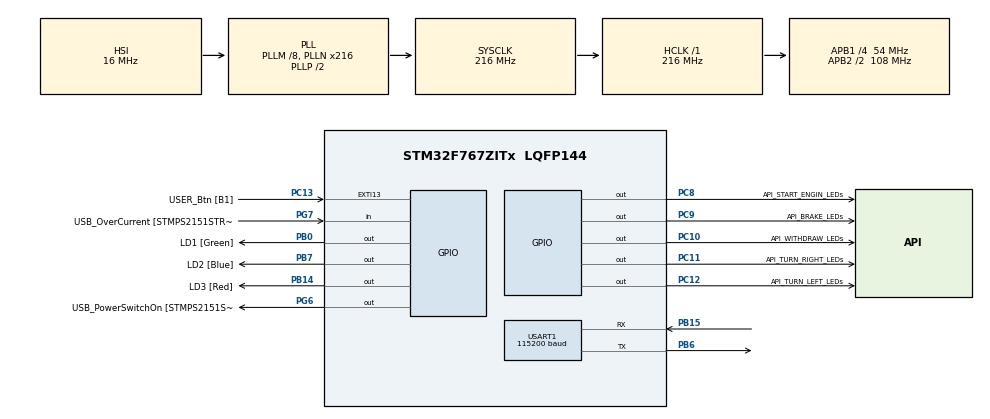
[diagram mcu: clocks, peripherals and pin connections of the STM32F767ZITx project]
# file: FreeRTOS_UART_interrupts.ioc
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FREERTOS.Tasks01=defaultTask,24,128,StartDefaultTask,Default,NULL,Dynamic,NULL,NULL;API_dispatcher,24,128,StartAPI_dispatcher,Default,NULL,Dynamic,NULL,NULL;API_START_ENGIN,24,128,StartAPI_START_ENGIN,Default,NULL,Dynamic,NULL,NULL;API_BRAKE,24,128,StartAPI_BRAKE,Default,NULL,Dynamic,NULL,NULL;API_WITHDRAW,24,128,StartAPI_WITHDRAW,Default,NULL,Dynamic,NULL,NULL;API_TURN_LEFT,24,128,StartAPI_TURN_LEFT,Default,NULL,Dynamic,NULL,NULL;API_TURN_RIGHT,24,128,StartAPI_TURN_RIGHT,Default,NULL,Dynamic,NULL,NULL
FREERTOS.configUSE_NEWLIB_REENTRANT=1
Mcu.Family=STM32F7
Mcu.Name=STM32F767ZITx
Mcu.Package=LQFP144
NVIC.PriorityGroup=NVIC_PRIORITYGROUP_4
NVIC.TIM6_DAC_IRQn=true\:15\:0\:false\:false\:true\:false\:false\:true\:true
NVIC.TimeBase=TIM6_DAC_IRQn
NVIC.TimeBaseIP=TIM6
NVIC.USART1_IRQn=true\:5\:0\:false\:false\:true\:true\:true\:true\:true
PA1.GPIO_Label=RMII_REF_CLK [LAN8742A-CZ-TR_REFCLK0]
PA1.Signal=ETH_REF_CLK
PA10.GPIO_Label=USB_ID
PA10.Signal=USB_OTG_FS_ID
PA11.GPIO_Label=USB_DM
PA11.Signal=USB_OTG_FS_DM
PA12.GPIO_Label=USB_DP
PA12.Signal=USB_OTG_FS_DP
PA13.GPIO_Label=TMS
PA13.Signal=SYS_JTMS-SWDIO
PA14.GPIO_Label=TCK
PA14.Signal=SYS_JTCK-SWCLK
PA2.GPIO_Label=RMII_MDIO [LAN8742A-CZ-TR_MDIO]
PA2.Signal=ETH_MDIO
PA7.GPIO_Label=RMII_CRS_DV [LAN8742A-CZ-TR_CRS_DV]
PA7.Signal=ETH_CRS_DV
PA8.GPIO_Label=USB_SOF [TP1]
PA8.Signal=USB_OTG_FS_SOF
PA9.GPIO_Label=USB_VBUS
PA9.Signal=USB_OTG_FS_VBUS
PB0.GPIO_Label=LD1 [Green]
PB0.Signal=GPIO_Output
PB13.GPIO_Label=RMII_TXD1 [LAN8742A-CZ-TR_TXD1]
PB13.Signal=ETH_TXD1
PB14.GPIO_Label=LD3 [Red]
PB14.Signal=GPIO_Output
PB15.Mode=Asynchronous
PB15.Signal=USART1_RX
PB3.GPIO_Label=SW0
PB3.Signal=SYS_JTDO-SWO
PB6.Mode=Asynchronous
PB6.Signal=USART1_TX
PB7.GPIO_Label=LD2 [Blue]
PB7.Signal=GPIO_Output
PC1.GPIO_Label=RMII_MDC [LAN8742A-CZ-TR_MDC]
PC1.Signal=ETH_MDC
PC10.GPIO_Label=API_WITHDRAW_LEDs
PC10.Signal=GPIO_Output
PC11.GPIO_Label=API_TURN_RIGHT_LEDs
PC11.Signal=GPIO_Output
PC12.GPIO_Label=API_TURN_LEFT_LEDs
PC12.Signal=GPIO_Output
PC13.GPIO_Label=USER_Btn [B1]
PC13.Signal=GPXTI13
PC14/OSC32_IN.Signal=RCC_OSC32_IN
PC15/OSC32_OUT.Signal=RCC_OSC32_OUT
PC4.GPIO_Label=RMII_RXD0 [LAN8742A-CZ-TR_RXD0]
PC4.Signal=ETH_RXD0
PC5.GPIO_Label=RMII_RXD1 [LAN8742A-CZ-TR_RXD1]
PC5.Signal=ETH_RXD1
PC8.GPIO_Label=API_START_ENGIN_LEDs
PC8.Signal=GPIO_Output
PC9.GPIO_Label=API_BRAKE_LEDs
PC9.Signal=GPIO_Output
PD8.GPIO_Label=STLK_RX [STM32F103CBT6_PA3]
PD8.Signal=USART3_TX
PD9.GPIO_Label=STLK_TX [STM32F103CBT6_PA2]
PD9.Signal=USART3_RX
PG11.GPIO_Label=RMII_TX_EN [LAN8742A-CZ-TR_TXEN]
PG11.Signal=ETH_TX_EN
PG13.GPIO_Label=RMII_TXD0 [LAN8742A-CZ-TR_TXD0]
PG13.Signal=ETH_TXD0
PG6.GPIO_Label=USB_PowerSwitchOn [STMPS2151STR_EN]
PG6.Signal=GPIO_Output
PG7.GPIO_Label=USB_OverCurrent [STMPS2151STR_FAULT]
PG7.Signal=GPIO_Input
PH0/OSC_IN.GPIO_Label=MCO [STM32F103CBT6_PA8]
PH0/OSC_IN.Mode=HSE-External-Oscillator
PH0/OSC_IN.Signal=RCC_OSC_IN
PH1/OSC_OUT.Mode=HSE-External-Oscillator
PH1/OSC_OUT.Signal=RCC_OSC_OUT
ProjectManager.HeapSize=0x200
ProjectManager.StackSize=0x400
ProjectManager.TargetToolchain=STM32CubeIDE
RCC.48MHZClocksFreq_Value=24000000
RCC.AHBFreq_Value=216000000
RCC.APB1CLKDivider=RCC_HCLK_DIV4
RCC.APB1Freq_Value=54000000
RCC.APB1TimFreq_Value=108000000
RCC.APB2CLKDivider=RCC_HCLK_DIV2
RCC.APB2Freq_Value=108000000
RCC.APB2TimFreq_Value=216000000
RCC.CortexFreq_Value=216000000
RCC.HCLKFreq_Value=216000000
RCC.HSE_VALUE=16000000
RCC.HSI_VALUE=16000000
RCC.LSE_VALUE=32768
RCC.PLLM=8
RCC.PLLMUL=RCC_PLL_MUL9
RCC.PLLN=216
RCC.PRESCALERUSB=RCC_USBCLKSOURCE_PLL_DIV1_5
RCC.SYSCLKFreq_VALUE=216000000
RCC.SYSCLKSource=RCC_SYSCLKSOURCE_PLLCLK
RCC.SYSCLKSourceVirtual=RCC_SYSCLKSOURCE_PLLCLK
RCC.USBFreq_Value=216000000
RCC.VCOOutputFreq_Value=432000000
USART1.BaudRate=115200
USART1.VirtualMode-Asynchronous=VM_ASYNC
VP_FREERTOS_VS_CMSIS_V2.Mode=CMSIS_V2
VP_SYS_VS_tim6.Mode=TIM6
board=NUCLEO-F767ZI

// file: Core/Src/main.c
/* USER CODE BEGIN Header */
/**
  ******************************************************************************
  * @file           : main.c
  * @brief          : Main program body
  ******************************************************************************
  * @attention
  *
  * Copyright (c) 2023 STMicroelectronics.
  * All rights reserved.
  *
  * This software is licensed under terms that can be found in the LICENSE file
  * in the root directory of this software component.
  * If no LICENSE file comes with this software, it is provided AS-IS.
  *
  ******************************************************************************
  */
/* USER CODE END Header */
#include "main.h"
#include "cmsis_os.h"
#include "usart.h"
#include "gpio.h"

void SystemClock_Config(void);
void MX_FREERTOS_Init(void);

/* USER CODE BEGIN 0 */
uint8_t* tx_buffer[8] = {0, 0, 0, 0, 0, 0, 0, 0};
//uint8_t* tx_buffer_ptr = &tx_buffer;
uint16_t tx_buffer_size = 8;

uint8_t rx_buffer[8] = {0, 0, 0, 0, 0, 0, 0, 0};
uint16_t rx_buffer_size = 8;

BaseType_t checkIfYieldRequired;

extern osThreadId_t API_dispatcherHandle;

/* USER CODE END 0 */

int main(void)
{

  /* MCU Configuration--------------------------------------------------------*/

  /* Reset of all peripherals, Initializes the Flash interface and the Systick. */
  HAL_Init();

  /* Configure the system clock */
  SystemClock_Config();

  /* Initialize all configured peripherals */
  MX_GPIO_Init();
  MX_USART1_UART_Init();
  /* USER CODE BEGIN 2 */
  HAL_UART_Receive_IT( &huart1, rx_buffer, 1 );

  /* USER CODE END 2 */

  /* Init scheduler */
  osKernelInitialize();  /* Call init function for freertos objects (in freertos.c) */
  MX_FREERTOS_Init();

  /* Start scheduler */
  osKernelStart();

  /* We should never get here as control is now taken by the scheduler */
  /* Infinite loop */
  while (1)
  {

  }
}

void SystemClock_Config(void)
{
  RCC_OscInitTypeDef RCC_OscInitStruct = {0};
  RCC_ClkInitTypeDef RCC_ClkInitStruct = {0};

  /** Configure the main internal regulator output voltage
  */
  __HAL_RCC_PWR_CLK_ENABLE();
  __HAL_PWR_VOLTAGESCALING_CONFIG(PWR_REGULATOR_VOLTAGE_SCALE1);

  /** Initializes the RCC Oscillators according to the specified parameters
  * in the RCC_OscInitTypeDef structure.
  */
  RCC_OscInitStruct.OscillatorType = RCC_OSCILLATORTYPE_HSI;
  RCC_OscInitStruct.HSIState = RCC_HSI_ON;
  RCC_OscInitStruct.HSICalibrationValue = RCC_HSICALIBRATION_DEFAULT;
  RCC_OscInitStruct.PLL.PLLState = RCC_PLL_ON;
  RCC_OscInitStruct.PLL.PLLSource = RCC_PLLSOURCE_HSI;
  RCC_OscInitStruct.PLL.PLLM = 8;
  RCC_OscInitStruct.PLL.PLLN = 216;
  RCC_OscInitStruct.PLL.PLLP = RCC_PLLP_DIV2;
  RCC_OscInitStruct.PLL.PLLQ = 2;
  RCC_OscInitStruct.PLL.PLLR = 2;
  if (HAL_RCC_OscConfig(&RCC_OscInitStruct) != HAL_OK)
  {
    Error_Handler();
  }

  /** Activate the Over-Drive mode
  */
  if (HAL_PWREx_EnableOverDrive() != HAL_OK)
  {
    Error_Handler();
  }

  /** Initializes the CPU, AHB and APB buses clocks
  */
  RCC_ClkInitStruct.ClockType = RCC_CLOCKTYPE_HCLK|RCC_CLOCKTYPE_SYSCLK
                              |RCC_CLOCKTYPE_PCLK1|RCC_CLOCKTYPE_PCLK2;
  RCC_ClkInitStruct.SYSCLKSource = RCC_SYSCLKSOURCE_PLLCLK;
  RCC_ClkInitStruct.AHBCLKDivider = RCC_SYSCLK_DIV1;
  RCC_ClkInitStruct.APB1CLKDivider = RCC_HCLK_DIV4;
  RCC_ClkInitStruct.APB2CLKDivider = RCC_HCLK_DIV2;

  if (HAL_RCC_ClockConfig(&RCC_ClkInitStruct, FLASH_LATENCY_7) != HAL_OK)
  {
    Error_Handler();
  }
}

/* USER CODE BEGIN 4 */
void HAL_UART_RxCpltCallback( UART_HandleTypeDef *huart1x ) {
	checkIfYieldRequired = xTaskResumeFromISR(API_dispatcherHandle);
	portYIELD_FROM_ISR(checkIfYieldRequired);
//	vTaskNotifyGiveFromISR(API_dispatcherHandle, 0);

	HAL_UART_Receive_IT( &huart1, rx_buffer, 1 );	// used for "opening" ST MCU for future interrupts on RX
}

void HAL_UART_TxCpltCallback( UART_HandleTypeDef *huart1 ){
	HAL_GPIO_TogglePin(GPIOB, GPIO_PIN_7);
}

/* USER CODE END 4 */

void HAL_TIM_PeriodElapsedCallback(TIM_HandleTypeDef *htim)
{
  if (htim->Instance == TIM6) {
    HAL_IncTick();
  }
}

void Error_Handler(void)
{
  __disable_irq();
  while (1)
  {
  }
}

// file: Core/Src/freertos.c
/* USER CODE BEGIN Header */
/**
  ******************************************************************************
  * File Name          : freertos.c
  * Description        : Code for freertos applications
  ******************************************************************************
  * @attention
  *
  * Copyright (c) 2023 STMicroelectronics.
  * All rights reserved.
  *
  * This software is licensed under terms that can be found in the LICENSE file
  * in the root directory of this software component.
  * If no LICENSE file comes with this software, it is provided AS-IS.
  *
  ******************************************************************************
  */
/* USER CODE END Header */

#include "FreeRTOS.h"
#include "task.h"
#include "main.h"
#include "cmsis_os.h"

/* USER CODE BEGIN Variables */
extern uint8_t rx_buffer[];

/* USER CODE END Variables */
/* Definitions for defaultTask */
osThreadId_t defaultTaskHandle;
const osThreadAttr_t defaultTask_attributes = {
  .name = "defaultTask",
  .stack_size = 128 * 4,
  .priority = (osPriority_t) osPriorityNormal,
};
/* Definitions for API_dispatcher */
osThreadId_t API_dispatcherHandle;
const osThreadAttr_t API_dispatcher_attributes = {
  .name = "API_dispatcher",
  .stack_size = 128 * 4,
  .priority = (osPriority_t) osPriorityNormal,
};
/* Definitions for API_START_ENGIN */
osThreadId_t API_START_ENGINHandle;
const osThreadAttr_t API_START_ENGIN_attributes = {
  .name = "API_START_ENGIN",
  .stack_size = 128 * 4,
  .priority = (osPriority_t) osPriorityNormal,
};
/* Definitions for API_BRAKE */
osThreadId_t API_BRAKEHandle;
const osThreadAttr_t API_BRAKE_attributes = {
  .name = "API_BRAKE",
  .stack_size = 128 * 4,
  .priority = (osPriority_t) osPriorityNormal,
};
/* Definitions for API_WITHDRAW */
osThreadId_t API_WITHDRAWHandle;
const osThreadAttr_t API_WITHDRAW_attributes = {
  .name = "API_WITHDRAW",
  .stack_size = 128 * 4,
  .priority = (osPriority_t) osPriorityNormal,
};
/* Definitions for API_TURN_LEFT */
osThreadId_t API_TURN_LEFTHandle;
const osThreadAttr_t API_TURN_LEFT_attributes = {
  .name = "API_TURN_LEFT",
  .stack_size = 128 * 4,
  .priority = (osPriority_t) osPriorityNormal,
};
/* Definitions for API_TURN_RIGHT */
osThreadId_t API_TURN_RIGHTHandle;
const osThreadAttr_t API_TURN_RIGHT_attributes = {
  .name = "API_TURN_RIGHT",
  .stack_size = 128 * 4,
  .priority = (osPriority_t) osPriorityNormal,
};

void StartDefaultTask(void *argument);
void StartAPI_dispatcher(void *argument);
void StartAPI_START_ENGIN(void *argument);
void StartAPI_BRAKE(void *argument);
void StartAPI_WITHDRAW(void *argument);
void StartAPI_TURN_LEFT(void *argument);
void StartAPI_TURN_RIGHT(void *argument);

void MX_FREERTOS_Init(void); /* (MISRA C 2004 rule 8.1) */

void MX_FREERTOS_Init(void) {

  /* Create the thread(s) */
  /* creation of defaultTask */
  defaultTaskHandle = osThreadNew(StartDefaultTask, NULL, &defaultTask_attributes);

  /* creation of API_dispatcher */
  API_dispatcherHandle = osThreadNew(StartAPI_dispatcher, NULL, &API_dispatcher_attributes);

  /* creation of API_START_ENGIN */
  API_START_ENGINHandle = osThreadNew(StartAPI_START_ENGIN, NULL, &API_START_ENGIN_attributes);

  /* creation of API_BRAKE */
  API_BRAKEHandle = osThreadNew(StartAPI_BRAKE, NULL, &API_BRAKE_attributes);

  /* creation of API_WITHDRAW */
  API_WITHDRAWHandle = osThreadNew(StartAPI_WITHDRAW, NULL, &API_WITHDRAW_attributes);

  /* creation of API_TURN_LEFT */
  API_TURN_LEFTHandle = osThreadNew(StartAPI_TURN_LEFT, NULL, &API_TURN_LEFT_attributes);

  /* creation of API_TURN_RIGHT */
  API_TURN_RIGHTHandle = osThreadNew(StartAPI_TURN_RIGHT, NULL, &API_TURN_RIGHT_attributes);

}

void StartDefaultTask(void *argument)
{
  /* USER CODE BEGIN StartDefaultTask */
//	uint8_t data[] = "A\r\n";

  /* Infinite loop */
  for(;;)
  {
	  vTaskDelete(NULL);
//	  osDelay(1);
//	  HAL_UART_Transmit_IT ( &huart1, data, sizeof (data) );

  }
  /* USER CODE END StartDefaultTask */
}

void StartAPI_dispatcher(void *argument)
{
  /* USER CODE BEGIN StartAPI_dispatcher */
  /* Infinite loop */
  for(;;)
  {
	  vTaskSuspend(NULL);	// suspend itself
//	  ulTaskNotifyTake(pdTRUE, (TickType_t) portMAX_DELAY);

	  switch(rx_buffer[0]) {
	  	case 0x1:	// Stop vehicle.
//	  		HAL_GPIO_TogglePin(GPIOB, GPIO_PIN_7);
	  		// NOT IMPLEMENTED YET
	  		vTaskResume(API_BRAKEHandle);
	  		break;
	  	case 0x2:	// Toggle driving lights.
//	  		HAL_GPIO_TogglePin(API_START_ENGIN_LEDs_GPIO_Port, API_START_ENGIN_LEDs_Pin);
	  		vTaskResume(API_START_ENGINHandle);
	  		break;
	  	case 0x3:	// Toggle RGB stripe.
//	  		HAL_GPIO_TogglePin(GPIOB, GPIO_PIN_0);
	  		// NOT IMPLEMENTED YET
	  		vTaskResume(API_WITHDRAWHandle);
	  		break;
	  	case 0x4:	// Turn left blinker on.
//	  		HAL_GPIO_TogglePin(API_TURN_LEFT_LEDs_GPIO_Port, API_TURN_LEFT_LEDs_Pin);
	  		vTaskResume(API_TURN_LEFTHandle);
	  		break;
	  	case 0x5:	// Turn right blinker on.
//	  		HAL_GPIO_TogglePin(API_TURN_RIGHT_LEDs_GPIO_Port, API_TURN_RIGHT_LEDs_Pin);
	  		vTaskResume(API_TURN_RIGHTHandle);
	  		break;
	  	case 0x6:	// Park to the left.
//	  		HAL_GPIO_TogglePin(API_TURN_LEFT_LEDs_GPIO_Port, API_TURN_LEFT_LEDs_Pin);
//	  		HAL_GPIO_TogglePin(API_TURN_RIGHT_LEDs_GPIO_Port, API_TURN_RIGHT_LEDs_Pin);
	  		// NOT IMPLEMENTED YET
	  		vTaskResume(API_TURN_LEFTHandle);
	  		HAL_GPIO_TogglePin(GPIOB, GPIO_PIN_7);
	  		break;
	  	case 0x7:	// Park to the right.
//	  		HAL_GPIO_TogglePin(API_TURN_RIGHT_LEDs_GPIO_Port, API_TURN_RIGHT_LEDs_Pin);
//	  		HAL_GPIO_TogglePin(API_TURN_LEFT_LEDs_GPIO_Port, API_TURN_LEFT_LEDs_Pin);
	  		// NOT IMPLEMENTED YET
	  		vTaskResume(API_TURN_RIGHTHandle);
	  		HAL_GPIO_TogglePin(GPIOB, GPIO_PIN_0);
	  		break;
	  	default:
	  	}
  }
  /* USER CODE END StartAPI_dispatcher */
}

void StartAPI_START_ENGIN(void *argument)
{
  /* USER CODE BEGIN StartAPI_START_ENGIN */
  /* Infinite loop */
  for(;;)
  {
	  vTaskSuspend(NULL);
	  HAL_GPIO_TogglePin(API_START_ENGIN_LEDs_GPIO_Port, API_START_ENGIN_LEDs_Pin);
  }
  /* USER CODE END StartAPI_START_ENGIN */
}

void StartAPI_BRAKE(void *argument)
{
  /* USER CODE BEGIN StartAPI_BRAKE */
  /* Infinite loop */
  for(;;)
  {
	  vTaskSuspend(NULL);
	  HAL_GPIO_TogglePin(API_BRAKE_LEDs_GPIO_Port, API_BRAKE_LEDs_Pin);
	  osDelay(500);
	  HAL_GPIO_TogglePin(API_BRAKE_LEDs_GPIO_Port, API_BRAKE_LEDs_Pin);
  }
  /* USER CODE END StartAPI_BRAKE */
}

void StartAPI_WITHDRAW(void *argument)
{
  /* USER CODE BEGIN StartAPI_WITHDRAW */
  /* Infinite loop */
  for(;;)
  {
	  vTaskSuspend(NULL);
	  HAL_GPIO_TogglePin(API_WITHDRAW_LEDs_GPIO_Port, API_WITHDRAW_LEDs_Pin);
	  osDelay(500);
	  HAL_GPIO_TogglePin(API_WITHDRAW_LEDs_GPIO_Port, API_WITHDRAW_LEDs_Pin);
  }
  /* USER CODE END StartAPI_WITHDRAW */
}

void StartAPI_TURN_LEFT(void *argument)
{
  /* USER CODE BEGIN StartAPI_TURN_LEFT */
  /* Infinite loop */
  for(;;)
  {
	  vTaskSuspend(NULL);
	  for(int i=0; i<6; i++)
	  {
		  HAL_GPIO_TogglePin(API_TURN_LEFT_LEDs_GPIO_Port, API_TURN_LEFT_LEDs_Pin);
		  osDelay(400);
	  }
  }
  /* USER CODE END StartAPI_TURN_LEFT */
}

void StartAPI_TURN_RIGHT(void *argument)
{
  /* USER CODE BEGIN StartAPI_TURN_RIGHT */
  /* Infinite loop */
  for(;;)
  {
	  vTaskSuspend(NULL);
	  for(int i=0; i<6; i++)
	  {
		  HAL_GPIO_TogglePin(API_TURN_RIGHT_LEDs_GPIO_Port, API_TURN_RIGHT_LEDs_Pin);
		  osDelay(400);
	  }
  }
  /* USER CODE END StartAPI_TURN_RIGHT */
}
